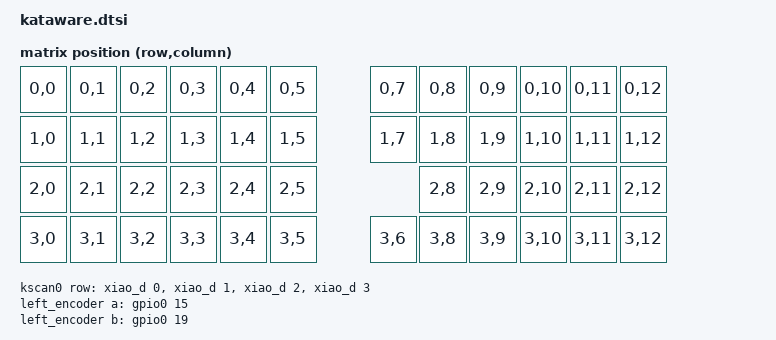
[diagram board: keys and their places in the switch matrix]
/*
 * kataware 左右共通の定義
 *
 * マイコン: Seeed Studio XIAO nRF52840 Plus (技適取得済み)
 * キー配置: オーソリニア 片手 5列 x 4段
 *           + 1・2段目の内側に1列 (T・G の右 / Y・H の左)
 *           + 左手4段目の内側に2キー (合計46キー)
 *           + 左手にロータリーエンコーダー (押し込みスイッチ付き)
 *           トラックボール(25mm)は右手の内側、4段目の高さ
 *
 * ピン番号の `&xiao_d N` は XIAO の「D番号」(D0〜D10) です。
 * Plus で増えた D11〜D19 は、nRF52840 本来のピン名 (&gpio0 15 = P0.15 など) で書きます。
 *   D11 = P0.15 / D12 = P0.19 / D13 = P1.01 / D17 = P1.07 / D18 = P1.05 / D19 = P1.03
 *   (D14・D15 は NFC 用、D16 は電池電圧の測定用なので使わない)
 */

#include <dt-bindings/zmk/matrix_transform.h>
#include "kataware-layout.dtsi"

// 物理レイアウトとマトリックス変換を結びつける
&kataware_layout {
    transform = <&default_transform>;
};

/ {
    chosen {
        zmk,kscan = &kscan0;
        zmk,physical-layout = &kataware_layout;
    };

    /*
     * マトリックス変換: 「何行目・何列目のスイッチ」が
     * キーマップ上の「何番目のキー」になるかを決める表
     *
     *  左手 (COL0 が外側)                                右手 (COL7 が一番内側)
     * | 0,0 | 0,1 | 0,2 | 0,3 | 0,4 | 0,5 |             | 0,7 | 0,8 | 0,9 | 0,10| 0,11| 0,12|
     * | 1,0 | 1,1 | 1,2 | 1,3 | 1,4 | 1,5 |             | 1,7 | 1,8 | 1,9 | 1,10| 1,11| 1,12|
     * | 2,0 | 2,1 | 2,2 | 2,3 | 2,4 | 2,5 |        (●)        | 2,8 | 2,9 | 2,10| 2,11| 2,12|
     * | 3,0 | 3,1 | 3,2 | 3,3 | 3,4 | 3,5 | 3,6 |   ●         | 3,8 | 3,9 | 3,10| 3,11| 3,12|
     *
     * 左手: 0,5 と 1,5 = T・G の内側の追加キー、2,5 = エンコーダーの押し込み、
     *       3,5 = 英数キー、3,6 = 親指の段の一番内側のキー
     * 右手: 0,7 と 1,7 = Y・H の内側の追加キー
     * ● はトラックボール
     */
    default_transform: keymap_transform_0 {
        compatible = "zmk,matrix-transform";
        columns = <13>;
        rows = <4>;
        map = <
RC(0,0) RC(0,1) RC(0,2) RC(0,3) RC(0,4) RC(0,5)            RC(0,7) RC(0,8) RC(0,9) RC(0,10) RC(0,11) RC(0,12)
RC(1,0) RC(1,1) RC(1,2) RC(1,3) RC(1,4) RC(1,5)            RC(1,7) RC(1,8) RC(1,9) RC(1,10) RC(1,11) RC(1,12)
RC(2,0) RC(2,1) RC(2,2) RC(2,3) RC(2,4) RC(2,5)                    RC(2,8) RC(2,9) RC(2,10) RC(2,11) RC(2,12)
RC(3,0) RC(3,1) RC(3,2) RC(3,3) RC(3,4) RC(3,5) RC(3,6)            RC(3,8) RC(3,9) RC(3,10) RC(3,11) RC(3,12)
        >;
    };

    /*
     * キースキャン(マトリックス配線)
     * diode-direction = "col2row": ダイオードの向きは 列(COL) → 行(ROW)
     * (基板設計時のダイオードの向きと必ず合わせること)
     */
    kscan0: kscan {
        compatible = "zmk,kscan-gpio-matrix";
        wakeup-source;
        diode-direction = "col2row";

        row-gpios
            = <&xiao_d 0 (GPIO_ACTIVE_HIGH | GPIO_PULL_DOWN)>  // ROW0 = D0
            , <&xiao_d 1 (GPIO_ACTIVE_HIGH | GPIO_PULL_DOWN)>  // ROW1 = D1
            , <&xiao_d 2 (GPIO_ACTIVE_HIGH | GPIO_PULL_DOWN)>  // ROW2 = D2
            , <&xiao_d 3 (GPIO_ACTIVE_HIGH | GPIO_PULL_DOWN)>  // ROW3 = D3
            ;
        // col-gpios は左右で並び順が違うので各 .overlay に書く
    };

    /*
     * ロータリーエンコーダー (左手のみ。左手の .overlay で有効にする)
     * A = D11 (P0.15), B = D12 (P0.19)。押し込みスイッチはキーマトリックスの ROW2 x COL5 につなぐ
     */
    left_encoder: encoder_left {
        compatible = "alps,ec11";
        a-gpios = <&gpio0 15 (GPIO_ACTIVE_HIGH | GPIO_PULL_UP)>;
        b-gpios = <&gpio0 19 (GPIO_ACTIVE_HIGH | GPIO_PULL_UP)>;
        steps = <80>;
        status = "disabled";
    };

    sensors: sensors {
        compatible = "zmk,keymap-sensors";
        sensors = <&left_encoder>;
        triggers-per-rotation = <20>;
    };

    /*
     * トラックボールの入力リスナー
     * 左右両方のビルドでキーマップから参照できるようにここで定義し、
     * 普段は無効(disabled)。kataware_trackball を指定した側だけで有効にする。
     */
    trackball_listener: trackball_listener {
        compatible = "zmk,input-listener";
        status = "disabled";
    };
};

/*
 * XIAO の初期設定では D4/D5 が I2C、D8〜D10 が SPI に割り当てられているので、
 * キーマトリックスに使えるように無効化する
 */
&xiao_i2c {
    status = "disabled";
};

&xiao_spi {
    status = "disabled";
};

/*
 * nice!view (画面) 用の SPI。左右とも同じピン:
 *   SCK = D19 (P1.03) / MOSI(DI) = D17 (P1.07) / CS = D18 (P1.05)
 * build.yaml で nice_view シールドを一緒に指定したときだけ有効になる
 */
&pinctrl {
    nice_view_spi_default: nice_view_spi_default {
        group1 {
            psels = <NRF_PSEL(SPIM_SCK, 1, 3)>,
                    <NRF_PSEL(SPIM_MOSI, 1, 7)>;
        };
    };

    nice_view_spi_sleep: nice_view_spi_sleep {
        group1 {
            psels = <NRF_PSEL(SPIM_SCK, 1, 3)>,
                    <NRF_PSEL(SPIM_MOSI, 1, 7)>;
            low-power-enable;
        };
    };
};

nice_view_spi: &spi3 {
    compatible = "nordic,nrf-spim";
    pinctrl-0 = <&nice_view_spi_default>;
    pinctrl-1 = <&nice_view_spi_sleep>;
    pinctrl-names = "default", "sleep";
    cs-gpios = <&gpio1 5 GPIO_ACTIVE_HIGH>;  // CS = D18 (P1.05)
};
